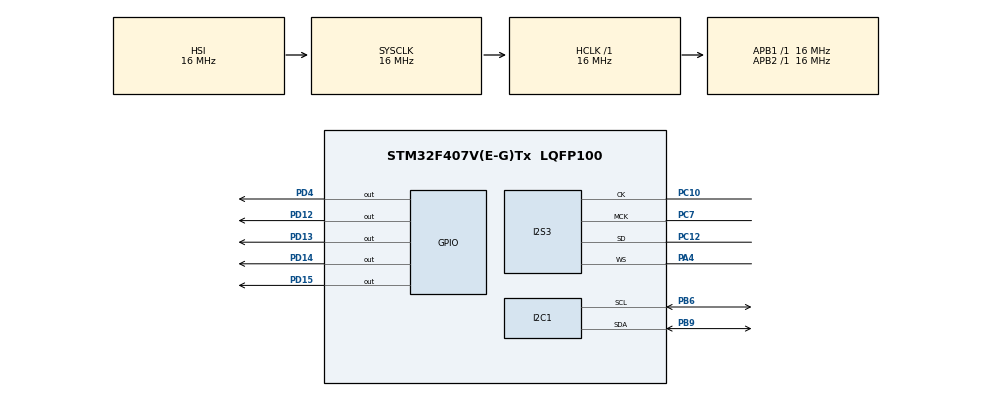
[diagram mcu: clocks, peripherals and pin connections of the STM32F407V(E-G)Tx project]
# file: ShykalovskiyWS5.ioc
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Dma.Request0=SPI3_TX
Dma.SPI3_TX.0.Direction=DMA_MEMORY_TO_PERIPH
Dma.SPI3_TX.0.FIFOMode=DMA_FIFOMODE_ENABLE
Dma.SPI3_TX.0.FIFOThreshold=DMA_FIFO_THRESHOLD_FULL
Dma.SPI3_TX.0.Instance=DMA1_Stream5
Dma.SPI3_TX.0.MemBurst=DMA_MBURST_SINGLE
Dma.SPI3_TX.0.MemDataAlignment=DMA_MDATAALIGN_HALFWORD
Dma.SPI3_TX.0.MemInc=DMA_MINC_ENABLE
Dma.SPI3_TX.0.Mode=DMA_CIRCULAR
Dma.SPI3_TX.0.PeriphBurst=DMA_PBURST_SINGLE
Dma.SPI3_TX.0.PeriphDataAlignment=DMA_PDATAALIGN_HALFWORD
Dma.SPI3_TX.0.PeriphInc=DMA_PINC_DISABLE
Dma.SPI3_TX.0.Priority=DMA_PRIORITY_LOW
I2S3.AudioFreq=I2S_AUDIOFREQ_48K
I2S3.ErrorAudioFreq=-2.34 %
I2S3.FullDuplexMode=I2S_FULLDUPLEXMODE_DISABLE
I2S3.Instance=SPI$Index
I2S3.RealAudioFreq=46.875 KHz
I2S3.VirtualMode=I2S_MODE_MASTER
Mcu.Family=STM32F4
Mcu.Name=STM32F407V(E-G)Tx
Mcu.Package=LQFP100
NVIC.DMA1_Stream5_IRQn=true\:0\:0\:false\:false\:true\:false\:true\:true
NVIC.PriorityGroup=NVIC_PRIORITYGROUP_4
PA4.Mode=Half_Duplex_Master
PA4.Signal=I2S3_WS
PB6.Mode=I2C
PB6.Signal=I2C1_SCL
PB9.Mode=I2C
PB9.Signal=I2C1_SDA
PC10.Mode=Half_Duplex_Master
PC10.Signal=I2S3_CK
PC12.Mode=Half_Duplex_Master
PC12.Signal=I2S3_SD
PC7.Mode=Master_Clock_Activated
PC7.Signal=I2S3_MCK
PD12.Signal=GPIO_Output
PD13.Signal=GPIO_Output
PD14.Signal=GPIO_Output
PD15.Signal=GPIO_Output
PD4.Signal=GPIO_Output
ProjectManager.HeapSize=0x200
ProjectManager.StackSize=0x400
ProjectManager.TargetToolchain=STM32CubeIDE
RCC.AHBFreq_Value=16000000
RCC.APB1Freq_Value=16000000
RCC.APB2Freq_Value=16000000
RCC.CortexFreq_Value=16000000
RCC.HSE_VALUE=25000000
RCC.HSI_VALUE=16000000
RCC.LSE_VALUE=32768
RCC.SYSCLKFreq_VALUE=16000000
RCC.VCOOutputFreq_Value=192000000
board=custom

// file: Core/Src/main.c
 /* USER CODE BEGIN Header */
/**
  ******************************************************************************
  * @file           : main.c
  * @brief          : Main program body
  ******************************************************************************
  * @attention
  *
  * Copyright (c) 2024 STMicroelectronics.
  * All rights reserved.
  *
  * This software is licensed under terms that can be found in the LICENSE file
  * in the root directory of this software component.
  * If no LICENSE file comes with this software, it is provided AS-IS.
  *
  ******************************************************************************
  */
/* USER CODE END Header */
#include "main.h"

/* USER CODE BEGIN PTD */
typedef enum
{
  C4,
  C5,
  D5,
  E5,
  F5,
  MAX_VALUE
} soundToneType;

/* USER CODE END PTD */

/* USER CODE BEGIN PD */
#define CS43L22_I2C_ADDRESS    0x94
#define I2C_TIMEOUT        10
/* USER CODE END PD */

I2C_HandleTypeDef hi2c1;

I2S_HandleTypeDef hi2s3;
DMA_HandleTypeDef hdma_spi3_tx;

/* USER CODE BEGIN PV */
int16_t dataI2S[100] = {0};

/* USER CODE END PV */

void SystemClock_Config(void);
static void MX_GPIO_Init(void);
static void MX_DMA_Init(void);
static void MX_I2C1_Init(void);
static void MX_I2S3_Init(void);

/* USER CODE BEGIN 0 */

void CS43L22_Init(void)
{
  // Enable chip
  HAL_GPIO_WritePin(GPIOD, GPIO_PIN_4, GPIO_PIN_SET);

  //
  // Initialization
  //
  uint8_t TxBuffer[2];

  TxBuffer[0] = 0x0D;
  TxBuffer[1] = 0x01;
  HAL_I2C_Master_Transmit(&hi2c1, CS43L22_I2C_ADDRESS, (uint8_t*) &TxBuffer, 2, I2C_TIMEOUT);

  TxBuffer[0] = 0x00;
  TxBuffer[1] = 0x99;
  HAL_I2C_Master_Transmit(&hi2c1, CS43L22_I2C_ADDRESS, (uint8_t*) &TxBuffer, 2, I2C_TIMEOUT);

  TxBuffer[0] = 0x47;
  TxBuffer[1] = 0x80;
  HAL_I2C_Master_Transmit(&hi2c1, CS43L22_I2C_ADDRESS, (uint8_t*) &TxBuffer, 2, I2C_TIMEOUT);

  TxBuffer[0] = 0x32;
  TxBuffer[1] = 0xFF;
  HAL_I2C_Master_Transmit(&hi2c1, CS43L22_I2C_ADDRESS, (uint8_t*) &TxBuffer, 2, I2C_TIMEOUT);

  TxBuffer[0] = 0x32;
  TxBuffer[1] = 0x7F;
  HAL_I2C_Master_Transmit(&hi2c1, CS43L22_I2C_ADDRESS, (uint8_t*) &TxBuffer, 2, I2C_TIMEOUT);

  TxBuffer[0] = 0x00;
  TxBuffer[1] = 0x00;
  HAL_I2C_Master_Transmit(&hi2c1, CS43L22_I2C_ADDRESS, (uint8_t*) &TxBuffer, 2, I2C_TIMEOUT);

  TxBuffer[0] = 0x04;
  TxBuffer[1] = 0xAF;
  HAL_I2C_Master_Transmit(&hi2c1, CS43L22_I2C_ADDRESS, (uint8_t*) &TxBuffer, 2, I2C_TIMEOUT);

  TxBuffer[0] = 0x0D;
  TxBuffer[1] = 0x70;
  HAL_I2C_Master_Transmit(&hi2c1, CS43L22_I2C_ADDRESS, (uint8_t*) &TxBuffer, 2, I2C_TIMEOUT);

  TxBuffer[0] = 0x05;
  TxBuffer[1] = 0x81;
  HAL_I2C_Master_Transmit(&hi2c1, CS43L22_I2C_ADDRESS, (uint8_t*) &TxBuffer, 2, I2C_TIMEOUT);

  TxBuffer[0] = 0x06;
  TxBuffer[1] = 0x07;
  HAL_I2C_Master_Transmit(&hi2c1, CS43L22_I2C_ADDRESS, (uint8_t*) &TxBuffer, 2, I2C_TIMEOUT);

  TxBuffer[0] = 0x0A;
  TxBuffer[1] = 0x00;
  HAL_I2C_Master_Transmit(&hi2c1, CS43L22_I2C_ADDRESS, (uint8_t*) &TxBuffer, 2, I2C_TIMEOUT);

  TxBuffer[0] = 0x27;
  TxBuffer[1] = 0x00;
  HAL_I2C_Master_Transmit(&hi2c1, CS43L22_I2C_ADDRESS, (uint8_t*) &TxBuffer, 2, I2C_TIMEOUT);

  TxBuffer[0] = 0x1A;
  TxBuffer[1] = 0x0A;
  HAL_I2C_Master_Transmit(&hi2c1, CS43L22_I2C_ADDRESS, (uint8_t*) &TxBuffer, 2, I2C_TIMEOUT);

  TxBuffer[0] = 0x1B;
  TxBuffer[1] = 0x0A;
  HAL_I2C_Master_Transmit(&hi2c1, CS43L22_I2C_ADDRESS, (uint8_t*) &TxBuffer, 2, I2C_TIMEOUT);

  TxBuffer[0] = 0x1F;
  TxBuffer[1] = 0x0F;
  HAL_I2C_Master_Transmit(&hi2c1, CS43L22_I2C_ADDRESS, (uint8_t*) &TxBuffer, 2, I2C_TIMEOUT);

  TxBuffer[0] = 0x02;
  TxBuffer[1] = 0x9E;
  HAL_I2C_Master_Transmit(&hi2c1, CS43L22_I2C_ADDRESS, (uint8_t*) &TxBuffer, 2, I2C_TIMEOUT);
}

void CS43L22_Beep(soundToneType pitch, uint32_t duration_ms)
{
  uint8_t TxBuffer[2];

  // Set volume and off time
  TxBuffer[0] = 0x1D;    // Register address
  TxBuffer[1] = 0x00;    // Value (volume and off time)
  HAL_I2C_Master_Transmit(&hi2c1, CS43L22_I2C_ADDRESS, (uint8_t*) &TxBuffer, 2, I2C_TIMEOUT);

  // Set sound frequency
  TxBuffer[0] = 0x1C;    // Register address
  switch (pitch)
  {
    case C4:
      TxBuffer[1] = 0x00;    // Value (frequency and on time)
      break;
    case C5:
      TxBuffer[1] = 0x10;    // Value (frequency and on time)
      break;
    case D5:
      TxBuffer[1] = 0x20;    // Value (frequency and on time)
      break;
    case E5:
      TxBuffer[1] = 0x30;    // Value (frequency and on time)
      break;
    case F5:
      TxBuffer[1] = 0x40;    // Value (frequency and on time)
      break;
    // Assume C4 for all other cases
    case MAX_VALUE:
    default:
      TxBuffer[1] = 0x00;    // Value (frequency and on time)
      break;
  }
  HAL_I2C_Master_Transmit(&hi2c1, CS43L22_I2C_ADDRESS, (uint8_t*) &TxBuffer, 2, I2C_TIMEOUT);

  // Enable continuous mode (SOUND STARTED)
  TxBuffer[0] = 0x1E;    // Register address
  TxBuffer[1] = 0xC0;    // Value (beep and tone configuration)
  HAL_I2C_Master_Transmit(&hi2c1, CS43L22_I2C_ADDRESS, (uint8_t*) &TxBuffer, 2, I2C_TIMEOUT);

  // Playing...
  HAL_Delay(duration_ms);

  // Disable continuous mode (SOUND STOPED)
  TxBuffer[0] = 0x1E;    // Register address
  TxBuffer[1] = 0x00;    // Value (beep and tone configuration)
  HAL_I2C_Master_Transmit(&hi2c1, CS43L22_I2C_ADDRESS, (uint8_t*) &TxBuffer, 2, I2C_TIMEOUT);
}

/* USER CODE END 0 */

int main(void)
{

  /* MCU Configuration--------------------------------------------------------*/

  /* Reset of all peripherals, Initializes the Flash interface and the Systick. */
  HAL_Init();

  /* Configure the system clock */
  SystemClock_Config();

  /* Initialize all configured peripherals */
  MX_GPIO_Init();
  MX_DMA_Init();
  MX_I2C1_Init();
  MX_I2S3_Init();
  /* USER CODE BEGIN 2 */
  // Init DAC
    CS43L22_Init();

    // Transmit empty data
    HAL_I2S_Transmit_DMA(&hi2s3, (uint16_t *)dataI2S, 100);

  /* USER CODE END 2 */

  /* Infinite loop */
  /* USER CODE BEGIN WHILE */
  while (1)
  {
    for(int i;i<4;i++){

        HAL_GPIO_WritePin(GPIOD, GPIO_PIN_12, GPIO_PIN_SET);
        CS43L22_Beep(C4, 300);
        HAL_GPIO_WritePin(GPIOD, GPIO_PIN_12, GPIO_PIN_RESET);
        HAL_Delay(150);

        HAL_GPIO_WritePin(GPIOD, GPIO_PIN_14, GPIO_PIN_SET);
        CS43L22_Beep(D5, 300);
        HAL_GPIO_WritePin(GPIOD, GPIO_PIN_14, GPIO_PIN_RESET);
        HAL_Delay(150);

        HAL_GPIO_WritePin(GPIOD, GPIO_PIN_12, GPIO_PIN_SET);
        CS43L22_Beep(C4, 300);
        HAL_GPIO_WritePin(GPIOD, GPIO_PIN_12, GPIO_PIN_RESET);
        HAL_Delay(150);

        HAL_GPIO_WritePin(GPIOD, GPIO_PIN_14, GPIO_PIN_SET);
        CS43L22_Beep(D5, 300);
        HAL_GPIO_WritePin(GPIOD, GPIO_PIN_14, GPIO_PIN_RESET);
        HAL_Delay(150);

        HAL_Delay(500);

        HAL_GPIO_WritePin(GPIOD, GPIO_PIN_12, GPIO_PIN_SET);
        CS43L22_Beep(C4, 300);
        HAL_GPIO_WritePin(GPIOD, GPIO_PIN_12, GPIO_PIN_RESET);
        HAL_Delay(150);

        HAL_GPIO_WritePin(GPIOD, GPIO_PIN_14, GPIO_PIN_SET);
        CS43L22_Beep(D5, 300);
        HAL_GPIO_WritePin(GPIOD, GPIO_PIN_14, GPIO_PIN_RESET);
        HAL_Delay(150);

        HAL_GPIO_WritePin(GPIOD, GPIO_PIN_12, GPIO_PIN_SET);
        CS43L22_Beep(C4, 300);
        HAL_GPIO_WritePin(GPIOD, GPIO_PIN_12, GPIO_PIN_RESET);
        HAL_Delay(150);

        HAL_GPIO_WritePin(GPIOD, GPIO_PIN_14, GPIO_PIN_SET);
        CS43L22_Beep(D5, 300);
        HAL_GPIO_WritePin(GPIOD, GPIO_PIN_14, GPIO_PIN_RESET);
        HAL_Delay(150);

        HAL_Delay(500);

        HAL_GPIO_WritePin(GPIOD, GPIO_PIN_12, GPIO_PIN_SET);
        CS43L22_Beep(C5, 200);
        HAL_GPIO_WritePin(GPIOD, GPIO_PIN_12, GPIO_PIN_RESET);
        HAL_GPIO_WritePin(GPIOD, GPIO_PIN_13, GPIO_PIN_SET);
        CS43L22_Beep(D5, 200);
        HAL_GPIO_WritePin(GPIOD, GPIO_PIN_13, GPIO_PIN_RESET);
        HAL_GPIO_WritePin(GPIOD, GPIO_PIN_14, GPIO_PIN_SET);
        CS43L22_Beep(F5, 200);
        HAL_GPIO_WritePin(GPIOD, GPIO_PIN_14, GPIO_PIN_RESET);
        HAL_GPIO_WritePin(GPIOD, GPIO_PIN_15, GPIO_PIN_SET);
        CS43L22_Beep(F5, 200);
        HAL_GPIO_WritePin(GPIOD, GPIO_PIN_15, GPIO_PIN_RESET);

        HAL_Delay(500);
        HAL_GPIO_WritePin(GPIOD, GPIO_PIN_12, GPIO_PIN_SET);
        CS43L22_Beep(C5, 200);
        HAL_GPIO_WritePin(GPIOD, GPIO_PIN_12, GPIO_PIN_RESET);
        HAL_GPIO_WritePin(GPIOD, GPIO_PIN_13, GPIO_PIN_SET);
        CS43L22_Beep(D5, 200);
        HAL_GPIO_WritePin(GPIOD, GPIO_PIN_13, GPIO_PIN_RESET);
        HAL_GPIO_WritePin(GPIOD, GPIO_PIN_14, GPIO_PIN_SET);
        CS43L22_Beep(F5, 200);
        HAL_GPIO_WritePin(GPIOD, GPIO_PIN_14, GPIO_PIN_RESET);
        HAL_GPIO_WritePin(GPIOD, GPIO_PIN_15, GPIO_PIN_SET);
        CS43L22_Beep(F5, 200);
        HAL_GPIO_WritePin(GPIOD, GPIO_PIN_15, GPIO_PIN_RESET);

        HAL_Delay(500);
        HAL_GPIO_WritePin(GPIOD, GPIO_PIN_12, GPIO_PIN_SET);
        HAL_GPIO_WritePin(GPIOD, GPIO_PIN_13, GPIO_PIN_SET);
        HAL_GPIO_WritePin(GPIOD, GPIO_PIN_14, GPIO_PIN_SET);
        HAL_GPIO_WritePin(GPIOD, GPIO_PIN_15, GPIO_PIN_SET);
        CS43L22_Beep(F5, 400);
        CS43L22_Beep(C5, 400);
        HAL_GPIO_WritePin(GPIOD, GPIO_PIN_12, GPIO_PIN_RESET);
        HAL_GPIO_WritePin(GPIOD, GPIO_PIN_13, GPIO_PIN_RESET);
        HAL_GPIO_WritePin(GPIOD, GPIO_PIN_14, GPIO_PIN_RESET);
        HAL_GPIO_WritePin(GPIOD, GPIO_PIN_15, GPIO_PIN_RESET);

    }

    /* USER CODE END WHILE */

  }
}

void SystemClock_Config(void)
{
  RCC_OscInitTypeDef RCC_OscInitStruct = {0};
  RCC_ClkInitTypeDef RCC_ClkInitStruct = {0};

  /** Macro to configure the PLL multiplication factor
  */
  __HAL_RCC_PLL_PLLM_CONFIG(16);

  /** Macro to configure the PLL clock source
  */
  __HAL_RCC_PLL_PLLSOURCE_CONFIG(RCC_PLLSOURCE_HSI);

  /** Configure the main internal regulator output voltage
  */
  __HAL_RCC_PWR_CLK_ENABLE();
  __HAL_PWR_VOLTAGESCALING_CONFIG(PWR_REGULATOR_VOLTAGE_SCALE1);

  /** Initializes the RCC Oscillators according to the specified parameters
  * in the RCC_OscInitTypeDef structure.
  */
  RCC_OscInitStruct.OscillatorType = RCC_OSCILLATORTYPE_HSI;
  RCC_OscInitStruct.HSIState = RCC_HSI_ON;
  RCC_OscInitStruct.HSICalibrationValue = RCC_HSICALIBRATION_DEFAULT;
  RCC_OscInitStruct.PLL.PLLState = RCC_PLL_NONE;
  RCC_OscInitStruct.PLL.PLLSource = RCC_PLLSOURCE_HSI;
  if (HAL_RCC_OscConfig(&RCC_OscInitStruct) != HAL_OK)
  {
    Error_Handler();
  }

  /** Initializes the CPU, AHB and APB buses clocks
  */
  RCC_ClkInitStruct.ClockType = RCC_CLOCKTYPE_HCLK|RCC_CLOCKTYPE_SYSCLK
                              |RCC_CLOCKTYPE_PCLK1|RCC_CLOCKTYPE_PCLK2;
  RCC_ClkInitStruct.SYSCLKSource = RCC_SYSCLKSOURCE_HSI;
  RCC_ClkInitStruct.AHBCLKDivider = RCC_SYSCLK_DIV1;
  RCC_ClkInitStruct.APB1CLKDivider = RCC_HCLK_DIV1;
  RCC_ClkInitStruct.APB2CLKDivider = RCC_HCLK_DIV1;

  if (HAL_RCC_ClockConfig(&RCC_ClkInitStruct, FLASH_LATENCY_0) != HAL_OK)
  {
    Error_Handler();
  }
}

static void MX_I2C1_Init(void)
{

  hi2c1.Instance = I2C1;
  hi2c1.Init.ClockSpeed = 100000;
  hi2c1.Init.DutyCycle = I2C_DUTYCYCLE_2;
  hi2c1.Init.OwnAddress1 = 0;
  hi2c1.Init.AddressingMode = I2C_ADDRESSINGMODE_7BIT;
  hi2c1.Init.DualAddressMode = I2C_DUALADDRESS_DISABLE;
  hi2c1.Init.OwnAddress2 = 0;
  hi2c1.Init.GeneralCallMode = I2C_GENERALCALL_DISABLE;
  hi2c1.Init.NoStretchMode = I2C_NOSTRETCH_DISABLE;
  if (HAL_I2C_Init(&hi2c1) != HAL_OK)
  {
    Error_Handler();
  }

}

static void MX_I2S3_Init(void)
{

  hi2s3.Instance = SPI3;
  hi2s3.Init.Mode = I2S_MODE_MASTER_TX;
  hi2s3.Init.Standard = I2S_STANDARD_PHILIPS;
  hi2s3.Init.DataFormat = I2S_DATAFORMAT_16B;
  hi2s3.Init.MCLKOutput = I2S_MCLKOUTPUT_ENABLE;
  hi2s3.Init.AudioFreq = I2S_AUDIOFREQ_48K;
  hi2s3.Init.CPOL = I2S_CPOL_LOW;
  hi2s3.Init.ClockSource = I2S_CLOCK_PLL;
  hi2s3.Init.FullDuplexMode = I2S_FULLDUPLEXMODE_DISABLE;
  if (HAL_I2S_Init(&hi2s3) != HAL_OK)
  {
    Error_Handler();
  }

}

static void MX_DMA_Init(void)
{

  /* DMA controller clock enable */
  __HAL_RCC_DMA1_CLK_ENABLE();

  /* DMA interrupt init */
  /* DMA1_Stream5_IRQn interrupt configuration */
  HAL_NVIC_SetPriority(DMA1_Stream5_IRQn, 0, 0);
  HAL_NVIC_EnableIRQ(DMA1_Stream5_IRQn);

}

static void MX_GPIO_Init(void)
{
  GPIO_InitTypeDef GPIO_InitStruct = {0};

  /* GPIO Ports Clock Enable */
  __HAL_RCC_GPIOA_CLK_ENABLE();
  __HAL_RCC_GPIOD_CLK_ENABLE();
  __HAL_RCC_GPIOC_CLK_ENABLE();
  __HAL_RCC_GPIOB_CLK_ENABLE();

  /*Configure GPIO pin Output Level */
  HAL_GPIO_WritePin(GPIOD, GPIO_PIN_12|GPIO_PIN_13|GPIO_PIN_14|GPIO_PIN_15
                          |GPIO_PIN_4, GPIO_PIN_RESET);

  /*Configure GPIO pins : PD12 PD13 PD14 PD15
                           PD4 */
  GPIO_InitStruct.Pin = GPIO_PIN_12|GPIO_PIN_13|GPIO_PIN_14|GPIO_PIN_15
                          |GPIO_PIN_4;
  GPIO_InitStruct.Mode = GPIO_MODE_OUTPUT_PP;
  GPIO_InitStruct.Pull = GPIO_NOPULL;
  GPIO_InitStruct.Speed = GPIO_SPEED_FREQ_LOW;
  HAL_GPIO_Init(GPIOD, &GPIO_InitStruct);

}

void Error_Handler(void)
{
  __disable_irq();
  while (1)
  {
  }
}
